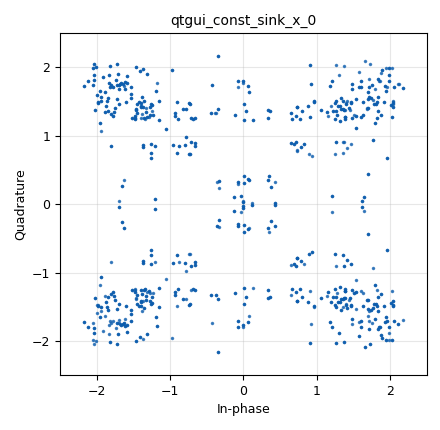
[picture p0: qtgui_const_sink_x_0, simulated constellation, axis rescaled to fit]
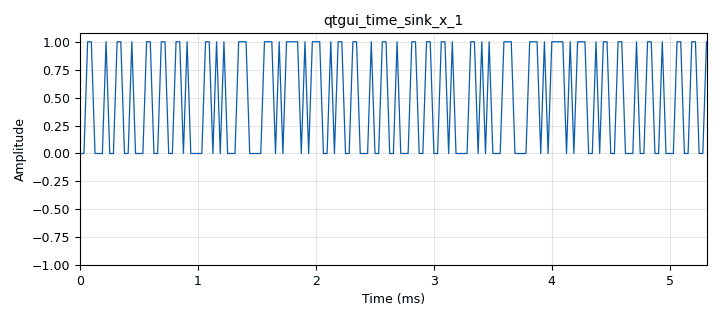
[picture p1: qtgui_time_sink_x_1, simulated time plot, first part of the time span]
options:
  parameters:
    author: Pramod
    generate_options: qt_gui
    id: project_1
    output_language: python
    title: Not titled yet
  states: {}

blocks:
- name: samp_rate
  id: variable
  parameters:
    value: '32000'
  states: {}
- name: variable_qtgui_entry_0
  id: variable_qtgui_entry
  parameters:
    type: string
    value: '0'
  states: {state: disabled}
- name: analog_const_source_x_0
  id: analog_const_source_x
  parameters:
    const: '1'
    type: byte
  states: {state: disabled}
- name: blocks_char_to_float_0
  id: blocks_char_to_float
  parameters:
    scale: '1'
  states: {state: disabled}
- name: blocks_file_sink_0
  id: blocks_file_sink
  parameters:
    file: C:\Users\PC\University\Semester_3\EN2130_Communication Design Project\Project\apple - Copy.txt
    type: complex
  states: {state: disabled}
- name: blocks_file_source_0
  id: blocks_file_source
  parameters:
    repeat: 'True'
    type: complex
  states: {state: disabled}
- name: blocks_file_source_1
  id: blocks_file_source
  parameters:
    file: C:\Users\PC\University\Semester_3\EN2130_Communication Design Project\Project\apple.txt
    repeat: 'True'
    type: byte
  states: {state: disabled}
- name: blocks_message_debug_0
  id: blocks_message_debug
  parameters: {}
  states: {state: disabled}
- name: blocks_message_debug_1
  id: blocks_message_debug
  parameters: {}
  states: {state: disabled}
- name: blocks_message_strobe_0
  id: blocks_message_strobe
  parameters:
    msg: pmt.intern("12345")
    period: '1000'
  states: {}
- name: blocks_stream_mux_0
  id: blocks_stream_mux
  parameters:
    lengths: (1, 1)
    type: byte
  states: {state: disabled}
- name: blocks_stream_to_tagged_stream_0
  id: blocks_stream_to_tagged_stream
  parameters:
    len_tag_key: '"packet_len"'
    packet_len: '32'
    type: byte
  states: {state: disabled}
- name: blocks_throttle2_0
  id: blocks_throttle2
  parameters:
    samples_per_second: samp_rate
    type: complex
  states: {}
- name: blocks_uchar_to_float_0
  id: blocks_uchar_to_float
  parameters: {}
  states: {}
- name: blocks_unpack_k_bits_bb_0
  id: blocks_unpack_k_bits_bb
  parameters:
    k: '8'
  states: {}
- name: channels_channel_model_0
  id: channels_channel_model
  parameters:
    epsilon: '1.0'
    freq_offset: '0'
    noise_voltage: '0'
    seed: '0'
    taps: '1.0'
  states: {state: disabled}
- name: digital_constellation_decoder_cb_0
  id: digital_constellation_decoder_cb
  parameters: {}
  states: {state: disabled}
- name: digital_constellation_modulator_0
  id: digital_constellation_modulator
  parameters:
    constellation: digital.constellation_qpsk().base()
    differential: 'True'
    excess_bw: '0.35'
    samples_per_symbol: '4'
    verbose: 'True'
  states: {}
- name: digital_correlate_access_code_xx_ts_0
  id: digital_correlate_access_code_xx_ts
  parameters:
    access_code: '1101001110010001'
    tagname: '"packet_len"'
    type: byte
  states: {state: disabled}
- name: digital_costas_loop_cc_0
  id: digital_costas_loop_cc
  parameters:
    order: '2'
    w: '0.0628'
  states: {state: disabled}
- name: digital_crc32_async_bb_0
  id: digital_crc32_async_bb
  parameters:
    check: 'True'
  states: {state: disabled}
- name: digital_crc32_async_bb_1
  id: digital_crc32_async_bb
  parameters:
    check: 'False'
  states: {}
- name: digital_pfb_clock_sync_xxx_0
  id: digital_pfb_clock_sync_xxx
  parameters:
    filter_size: '32'
    init_phase: '16'
    loop_bw: '0.0628'
    max_dev: '1.5'
    osps: '1'
    sps: '4'
    type: ccf
  states: {state: disabled}
- name: epy_block_0
  id: epy_block
  parameters:
    _source_code: |
      import pmt
      from gnuradio import gr

      class MessageToByteArray(gr.basic_block):
          """
          Converts incoming messages to byte array PDUs.
          Compatible with Message Strobe and Message Debug.
          """
          def __init__(self):
              gr.basic_block.__init__(
                  self,
                  name="MessageToByteArray",
                  in_sig=None,
                  out_sig=None
              )

              # Register message ports
              self.message_port_register_in(pmt.intern('in'))
              self.message_port_register_out(pmt.intern('out'))

              # Set handler for incoming messages
              self.set_msg_handler(pmt.intern('in'), self.handle_msg)

          def handle_msg(self, msg_pmt):
              """
              Handle incoming PMT messages and convert them to byte array PDUs.
              """
              # Case 1: PMT symbol (string-like)
              if pmt.is_symbol(msg_pmt):
                  data_bytes = bytearray(pmt.symbol_to_string(msg_pmt), 'utf-8')

              # Case 2: Already a u8vector (raw bytes)
              elif pmt.is_u8vector(msg_pmt):
                  data_bytes = bytearray(pmt.u8vector_elements(msg_pmt))

              # Fallback: convert anything else to string then encode
              else:
                  data_bytes = bytearray(str(msg_pmt), 'utf-8')

              # Convert to PMT u8vector
              msg_out = pmt.init_u8vector(len(data_bytes), data_bytes)

              # Wrap as PDU (meta dict, data vector)
              pdu = pmt.cons(pmt.make_dict(), msg_out)

              # Publish PDU
              self.message_port_pub(pmt.intern('out'), pdu)
  states: {}
- name: epy_block_1
  id: epy_block
  parameters:
    _source_code: |
      """
      Embedded Python Blocks:

      Each time this file is saved, GRC will instantiate the first class it finds
      to get ports and parameters of your block. The arguments to __init__  will
      be the parameters. All of them are required to have default values!
      """

      import numpy as np
      from gnuradio import gr


      class blk(gr.sync_block):  # other base classes are basic_block, decim_block, interp_block
          """Embedded Python Block example - a simple multiply const"""

          def __init__(self, example_param=1.0):  # only default arguments here
              """arguments to this function show up as parameters in GRC"""
              gr.sync_block.__init__(
                  self,
                  name='Embedded Python Block',   # will show up in GRC
                  in_sig=[np.complex64],
                  out_sig=[np.complex64]
              )
              # if an attribute with the same name as a parameter is found,
              # a callback is registered (properties work, too).
              self.example_param = example_param

          def work(self, input_items, output_items):
              """example: multiply with constant"""
              output_items[0][:] = input_items[0] * self.example_param
              return len(output_items[0])
    example_param: ''
  states: {state: disabled}
- name: pdu_pdu_to_tagged_stream_0
  id: pdu_pdu_to_tagged_stream
  parameters:
    tag: packet_len
    type: byte
  states: {}
- name: pdu_tagged_stream_to_pdu_0
  id: pdu_tagged_stream_to_pdu
  parameters:
    tag: packet_len
    type: byte
  states: {state: disabled}
- name: pdu_tagged_stream_to_pdu_0_0
  id: pdu_tagged_stream_to_pdu
  parameters:
    tag: packet_len
    type: byte
  states: {state: disabled}
- name: pdu_tagged_stream_to_pdu_1
  id: pdu_tagged_stream_to_pdu
  parameters:
    tag: packet_len
    type: byte
  states: {state: disabled}
- name: qtgui_const_sink_x_0
  id: qtgui_const_sink_x
  parameters:
    size: '1024'
    type: complex
  states: {}
- name: qtgui_time_sink_x_0
  id: qtgui_time_sink_x
  parameters:
    color1: dark blue
    label1: Symbols
    name: ''
    size: '500'
    srate: samp_rate
    type: float
    ymax: '4'
  states: {state: disabled}
- name: qtgui_time_sink_x_1
  id: qtgui_time_sink_x
  parameters:
    size: '1024'
    srate: samp_rate
    type: float
  states: {}

connections:
- [analog_const_source_x_0, '0', blocks_stream_mux_0, '0']
- [blocks_char_to_float_0, '0', qtgui_time_sink_x_0, '0']
- [blocks_file_source_1, '0', blocks_stream_to_tagged_stream_0, '0']
- [blocks_message_strobe_0, strobe, epy_block_0, in]
- [blocks_stream_mux_0, '0', digital_constellation_modulator_0, '0']
- [blocks_stream_to_tagged_stream_0, '0', pdu_tagged_stream_to_pdu_1, '0']
- [blocks_throttle2_0, '0', blocks_file_sink_0, '0']
- [blocks_throttle2_0, '0', channels_channel_model_0, '0']
- [blocks_throttle2_0, '0', qtgui_const_sink_x_0, '0']
- [blocks_uchar_to_float_0, '0', qtgui_time_sink_x_1, '0']
- [blocks_unpack_k_bits_bb_0, '0', blocks_uchar_to_float_0, '0']
- [channels_channel_model_0, '0', digital_pfb_clock_sync_xxx_0, '0']
- [digital_constellation_decoder_cb_0, '0', blocks_char_to_float_0, '0']
- [digital_constellation_decoder_cb_0, '0', digital_correlate_access_code_xx_ts_0, '0']
- [digital_constellation_modulator_0, '0', blocks_throttle2_0, '0']
- [digital_correlate_access_code_xx_ts_0, '0', pdu_tagged_stream_to_pdu_0, '0']
- [digital_costas_loop_cc_0, '0', digital_constellation_decoder_cb_0, '0']
- [digital_crc32_async_bb_1, out, pdu_pdu_to_tagged_stream_0, pdus]
- [digital_pfb_clock_sync_xxx_0, '0', digital_costas_loop_cc_0, '0']
- [epy_block_0, out, digital_crc32_async_bb_1, in]
- [pdu_pdu_to_tagged_stream_0, '0', blocks_stream_mux_0, '1']
- [pdu_pdu_to_tagged_stream_0, '0', blocks_unpack_k_bits_bb_0, '0']
- [pdu_pdu_to_tagged_stream_0, '0', digital_constellation_modulator_0, '0']
- [pdu_pdu_to_tagged_stream_0, '0', pdu_tagged_stream_to_pdu_0_0, '0']
- [pdu_tagged_stream_to_pdu_0, pdus, digital_crc32_async_bb_0, in]
- [pdu_tagged_stream_to_pdu_0_0, pdus, blocks_message_debug_1, print_pdu]
- [pdu_tagged_stream_to_pdu_1, pdus, digital_crc32_async_bb_1, in]

metadata:
  file_format: 1
  grc_version: 3.10.12.0
